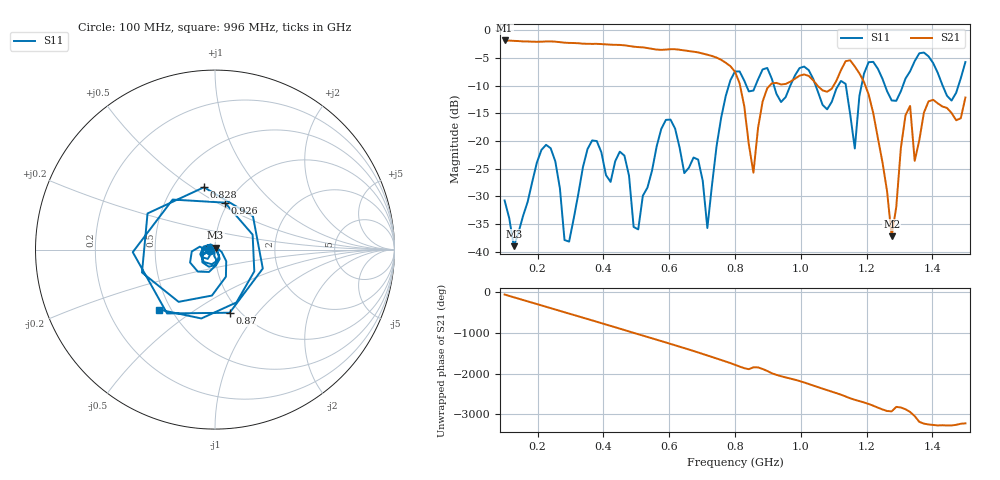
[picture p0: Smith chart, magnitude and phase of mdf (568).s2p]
! NanoVNA-App
! Date: 2025-09-25 15:42:50
! Start: 100MHz Stop: 1,5GHz Points: 101
! S-Parameter data: F S11 S21 S12 S22
# Hz S RI R 50
!  Frequency  S11_Real  S11_Imag  S21_Real  S21_Imag  S12_Real  S12_Imag  S22_Real  S22_Imag
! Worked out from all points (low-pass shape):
!   101 points, 100 MHz to 1.5 GHz, reference 50 ohm
!   highest |S21| = -1.80 dB at 100 MHz (marker M1); lowest = -37.2 dB at 1.276 GHz (marker M2)
!   |S21| within 3 dB of the highest: start of sweep to 739.4 MHz
!   lowest |S11| = -39.0 dB at 128 MHz (marker M3), VSWR 1.02, Z = 50.3 + j1.08 ohm
!   |S11| at or under -10 dB: start of sweep to 781 MHz; 1.045 GHz to 1.113 GHz (67.86 MHz wide, 6.29 % of centre); 1.256 GHz to 1.31 GHz (54.03 MHz wide, 4.21 % of centre) (the widest 3 of 7)
!   S12 and S22 are empty: the file has one direction only
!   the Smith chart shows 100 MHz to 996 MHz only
!   S11 on the Smith chart (normalised r, x): 100 MHz: 0.94, -0.01; 828 MHz: 0.70, +0.56; 870 MHz: 0.90, -0.73; 926 MHz: 0.97, +0.54; 996 MHz: 0.43, -0.36
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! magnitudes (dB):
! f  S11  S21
! 100 MHz  -30.7  -1.8
! 128 MHz  -39.0  -1.9
! 212 MHz  -21.6  -2.0
! 282 MHz  -37.9  -2.2
! 338 MHz  -24.7  -2.4
! 464 MHz  -22.6  -2.7
! 506 MHz  -36.0  -3.0
! 576 MHz  -17.8  -3.5
! 716 MHz  -35.7  -4.4
! 800 MHz  -7.4  -7.5
! 828 MHz  -9.1  -13.6
! 856 MHz  -10.9  -25.7
! 870 MHz  -8.8  -17.6
! 926 MHz  -11.5  -9.5
! 996 MHz  -6.8  -8.2
! 1.038 GHz  -8.8  -9.0
! 1.164 GHz  -21.3  -6.5
! 1.192 GHz  -7.8  -9.3
! 1.276 GHz  -12.6  -37.2
! 1.332 GHz  -7.4  -13.6
! 1.346 GHz  -5.5  -23.6
! 1.5 GHz  -5.7  -12.1
